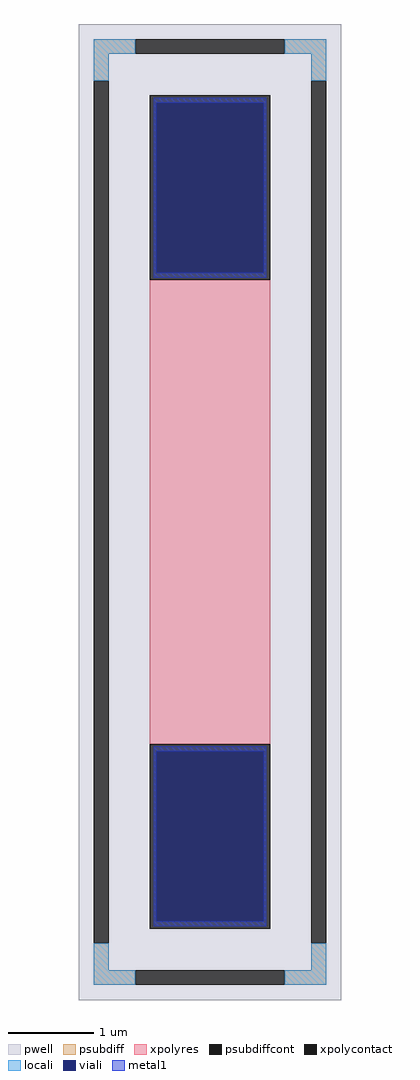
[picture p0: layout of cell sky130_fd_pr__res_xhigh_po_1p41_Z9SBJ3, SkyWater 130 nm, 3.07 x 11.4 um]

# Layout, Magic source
magic
tech sky130A
magscale 1 2
<< pwell >>
rect -307 -1140 307 1140
<< psubdiff >>
rect -271 1070 -175 1104
rect 175 1070 271 1104
rect -271 1008 -237 1070
rect 237 1008 271 1070
rect -271 -1070 -237 -1008
rect 237 -1070 271 -1008
rect -271 -1104 -175 -1070
rect 175 -1104 271 -1070
<< psubdiffcont >>
rect -175 1070 175 1104
rect -271 -1008 -237 1008
rect 237 -1008 271 1008
rect -175 -1104 175 -1070
<< xpolycontact >>
rect -141 542 141 974
rect -141 -974 141 -542
<< xpolyres >>
rect -141 -542 141 542
<< locali >>
rect -271 1070 -175 1104
rect 175 1070 271 1104
rect -271 1008 -237 1070
rect 237 1008 271 1070
rect -271 -1070 -237 -1008
rect 237 -1070 271 -1008
rect -271 -1104 -175 -1070
rect 175 -1104 271 -1070
<< viali >>
rect -125 559 125 956
rect -125 -956 125 -559
<< metal1 >>
rect -131 956 131 968
rect -131 559 -125 956
rect 125 559 131 956
rect -131 547 131 559
rect -131 -559 131 -547
rect -131 -956 -125 -559
rect 125 -956 131 -559
rect -131 -968 131 -956
<< properties >>
string FIXED_BBOX -254 -1087 254 1087
string gencell sky130_fd_pr__res_xhigh_po_1p41
string library sky130
string parameters w 1.410 l 5.577 m 1 nx 1 wmin 1.410 lmin 0.50 rho 2000 val 8.177k dummy 0 dw 0.0 term 188.2 sterm 0.0 caplen 0 wmax 1.410 guard 1 glc 1 grc 1 gtc 1 gbc 1 compatible {sky130_fd_pr__res_xhigh_po_0p35  sky130_fd_pr__res_xhigh_po_0p69 sky130_fd_pr__res_xhigh_po_1p41  sky130_fd_pr__res_xhigh_po_2p85 sky130_fd_pr__res_xhigh_po_5p73} snake 0 full_metal 1 n_guard 0 hv_guard 0 vias 1 viagb 0 viagt 0 viagl 0 viagr 0
<< end >>
